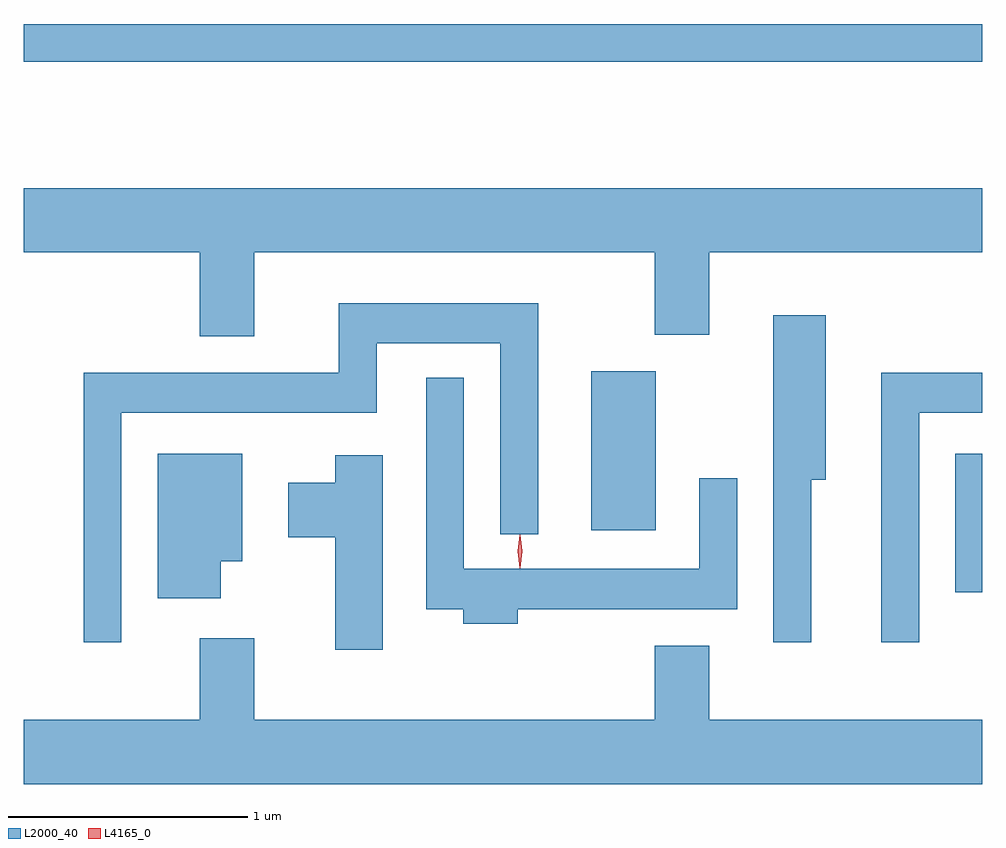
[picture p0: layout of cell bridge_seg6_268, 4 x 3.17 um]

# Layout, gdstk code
import gdstk
lib = gdstk.Library(unit=1e-6, precision=1e-09)
def R(c, l, rs):  # rectangles x0, y0, x1, y1
    for r in rs: c.add(gdstk.rectangle(r[:2], r[2:], *l))
def P(c, l, *ps):  # polygons
    for p in ps: c.add(gdstk.Polygon(p, *l))
L2000_40 = (2000, 40)
L4165_0 = (4165, 0)

bridge_seg6_268 = lib.new_cell('bridge_seg6_268')
R(bridge_seg6_268, L2000_40, [(1250.926,1548.616,1251.037,1549.194), (1249.406,1548.876,1249.674,1549.539), (1247.037,1550.831,1251.037,1550.989)])
P(bridge_seg6_268, L2000_40, [(1247.999,1550.036),(1249.671,1550.036),(1249.671,1549.691),(1249.899,1549.691),(1249.899,1550.036),(1251.037,1550.036),(1251.037,1550.304),(1247.037,1550.304),(1247.037,1550.036),(1247.771,1550.036),(1247.771,1549.686),(1247.999,1549.686)],
  [(1247.444,1549.366),(1248.509,1549.366),(1248.509,1549.656),(1249.026,1549.656),(1249.026,1548.858),(1249.184,1548.858),(1249.184,1549.824),(1248.351,1549.824),(1248.351,1549.534),(1247.286,1549.534),(1247.286,1548.408),(1247.444,1548.408)],
  [(1250.324,1549.086),(1250.384,1549.086),(1250.384,1549.774),(1250.166,1549.774),(1250.166,1548.408),(1250.324,1548.408)],
  [(1250.774,1549.366),(1251.037,1549.366),(1251.037,1549.534),(1250.616,1549.534),(1250.616,1548.408),(1250.774,1548.408)],
  [(1249.099,1548.546),(1250.014,1548.546),(1250.014,1549.093),(1249.856,1549.093),(1249.856,1548.714),(1248.874,1548.714),(1248.874,1549.513),(1248.716,1549.513),(1248.716,1548.546),(1248.871,1548.546),(1248.871,1548.486),(1249.099,1548.486)],
  [(1247.859,1548.746),(1247.949,1548.746),(1247.949,1549.194),(1247.596,1549.194),(1247.596,1548.591),(1247.859,1548.591)],
  [(1248.534,1549.189),(1248.336,1549.189),(1248.336,1549.074),(1248.141,1549.074),(1248.141,1548.846),(1248.336,1548.846),(1248.336,1548.376),(1248.534,1548.376)],
  [(1251.037,1548.084),(1249.899,1548.084),(1249.899,1548.394),(1249.671,1548.394),(1249.671,1548.084),(1247.999,1548.084),(1247.999,1548.424),(1247.771,1548.424),(1247.771,1548.084),(1247.037,1548.084),(1247.037,1547.816),(1251.037,1547.816)])
P(bridge_seg6_268, L4165_0, [(1249.107,1548.717),(1249.098,1548.787),(1249.107,1548.856),(1249.108,1548.856),(1249.108,1548.856),(1249.118,1548.787),(1249.108,1548.717),(1249.108,1548.717)])

lib.write_gds('bridge_seg6_268.gds')
